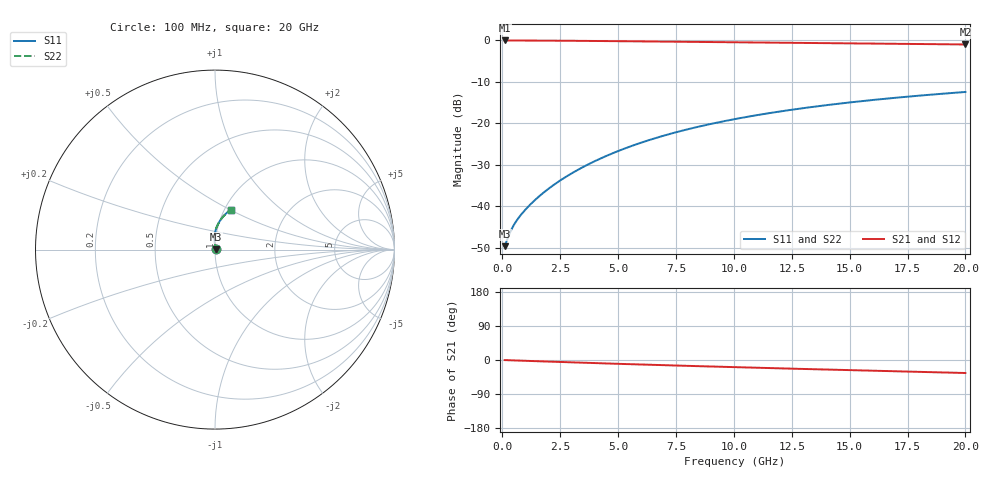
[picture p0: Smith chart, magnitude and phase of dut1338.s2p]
! Touchstone file exported from HFSS 2024.1.0
!  File:  C:/UserFiles/LocalFiles/RDL_TSV_Batchsim/temp_RDL_top_1338_1780365715.aedt
!  Generated:  10:04:04 AM Jun  2, 2026
!  Design:  RDL_top
!  Project:  temp_RDL_top_1338_1780365715
!  Setup:  Setup1
!  Solution:  Sweep
! Variables:
!  dtsv = 10.80580581um
!  hbump = 3um
!  htsv = 57.42um
!  ldown = 100um
!  lrdl = 544.29um
!  p = 40
!  p1 = 42.98um
!  rhole = 1um
!  t = 450um
!  tdown = 3.915915916um
!  trdl = 2.46um
!  wdown = 15.38538539um
!  wrdl = 28.3um
# GHz S MA R 50.000000
! Terminal data exported
! Port[1] = Box2_T1
! Port[2] = Box2_T2
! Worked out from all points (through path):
!   200 points, 100 MHz to 20 GHz, reference 50 ohm
!   highest |S21| = -0.03 dB at 100 MHz (marker M1); lowest = -1.0 dB at 20 GHz (marker M2)
!   group delay of S21, straight-line fit = 4.69 ps
!   lowest |S11| = -49.6 dB at 100 MHz (marker M3), VSWR 1.01, Z = 50.3 + j0.108 ohm
!   |S11| at or under -10 dB: start of sweep to end of sweep
!   |S22| runs from -49.6 to -12.5 dB; largest |S21 - S12| = 6.3e-15
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0.1  0.003308 19.0  0.9969 -0.2  0.9969 -0.2  0.003308 19.0
! Gamma 0 0 0 0
! Port Impedance 50 0 50 0
0.3  0.004589 40.7  0.9964 -0.7  0.9964 -0.7  0.004589 40.7
0.4  0.005289 46.3  0.9961 -0.9  0.9961 -0.9  0.005289 46.3
0.5  0.005959 50.4  0.9959 -1.1  0.9959 -1.1  0.00596 50.4
0.6  0.006604 53.9  0.9956 -1.3  0.9956 -1.3  0.006604 53.9
0.8  0.007861 59.6  0.9951 -1.7  0.9951 -1.7  0.007862 59.6
1.2  0.01045 68.6  0.9942 -2.6  0.9942 -2.6  0.01045 68.6
1.7  0.014 76.5  0.9929 -3.6  0.9929 -3.6  0.014 76.5
2.2  0.01793 82.0  0.9912 -4.6  0.9912 -4.6  0.01793 81.9
2.8  0.02314 86.5  0.9889 -5.8  0.9889 -5.8  0.02313 86.4
3.5  0.02985 89.8  0.9856 -7.2  0.9856 -7.2  0.02985 89.8
4.2  0.03721 91.8  0.9819 -8.6  0.9819 -8.6  0.0372 91.8
5  0.04631 92.9  0.9773 -10.1  0.9773 -10.1  0.04628 92.9
5.9  0.05725 93.1  0.9719 -11.8  0.9719 -11.8  0.05722 93.1
6.8  0.06876 92.5  0.9663 -13.4  0.9663 -13.4  0.06872 92.5
8.4  0.0901 90.5  0.9563 -16.1  0.9563 -16.1  0.09003 90.4
10.1  0.1133 87.5  0.9459 -19.0  0.9459 -19.0  0.1132 87.5
11.7  0.135 84.4  0.9366 -21.6  0.9366 -21.6  0.1349 84.4
13.4  0.1577 81.0  0.927 -24.3  0.927 -24.3  0.1576 81.0
15  0.1785 77.9  0.9182 -26.8  0.9182 -26.8  0.1783 77.8
16.7  0.1998 74.6  0.9092 -29.4  0.9092 -29.4  0.1996 74.6
20  0.2387 68.5  0.8922 -34.3  0.8922 -34.3  0.2384 68.5
